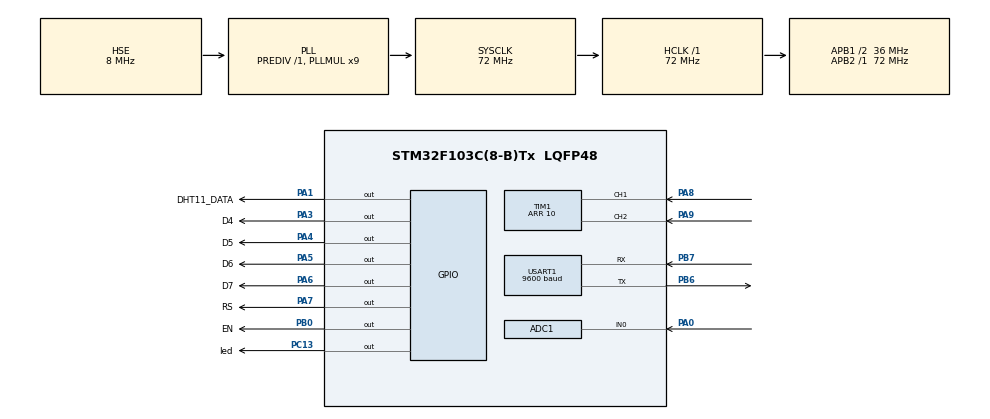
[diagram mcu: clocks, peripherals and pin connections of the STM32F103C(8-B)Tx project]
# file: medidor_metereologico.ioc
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ADC1.Channel-1\#ChannelRegularConversion=ADC_CHANNEL_0
ADC1.ContinuousConvMode=ENABLE
ADC1.NbrOfConversion=1
ADC1.NbrOfConversionFlag=1
ADC1.Rank-1\#ChannelRegularConversion=1
ADC1.SamplingTime-1\#ChannelRegularConversion=ADC_SAMPLETIME_1CYCLE_5
ADC1.master=1
Mcu.Family=STM32F1
Mcu.Name=STM32F103C(8-B)Tx
Mcu.Package=LQFP48
NVIC.PriorityGroup=NVIC_PRIORITYGROUP_4
NVIC.USART1_IRQn=true\:0\:0\:false\:false\:true\:true\:true\:true
PA0-WKUP.Signal=ADCx_IN0
PA1.GPIO_Label=DHT11_DATA
PA1.Signal=GPIO_Output
PA13.Mode=Serial_Wire
PA13.Signal=SYS_JTMS-SWDIO
PA14.Mode=Serial_Wire
PA14.Signal=SYS_JTCK-SWCLK
PA3.GPIO_Label=D4
PA3.Signal=GPIO_Output
PA4.GPIO_Label=D5
PA4.Signal=GPIO_Output
PA5.GPIO_Label=D6
PA5.Signal=GPIO_Output
PA6.GPIO_Label=D7
PA6.Signal=GPIO_Output
PA7.GPIO_Label=RS
PA7.Signal=GPIO_Output
PA8.Signal=S_TIM1_CH1
PA9.Signal=S_TIM1_CH2
PB0.GPIO_Label=EN
PB0.Signal=GPIO_Output
PB6.Mode=Asynchronous
PB6.Signal=USART1_TX
PB7.Mode=Asynchronous
PB7.Signal=USART1_RX
PC13-TAMPER-RTC.GPIO_Label=led
PC13-TAMPER-RTC.Signal=GPIO_Output
PD0-OSC_IN.Mode=HSE-External-Oscillator
PD0-OSC_IN.Signal=RCC_OSC_IN
PD1-OSC_OUT.Mode=HSE-External-Oscillator
PD1-OSC_OUT.Signal=RCC_OSC_OUT
ProjectManager.HeapSize=0x200
ProjectManager.StackSize=0x400
ProjectManager.TargetToolchain=STM32CubeIDE
RCC.ADCPresc=RCC_ADCPCLK2_DIV6
RCC.AHBFreq_Value=72000000
RCC.APB1CLKDivider=RCC_HCLK_DIV2
RCC.APB1Freq_Value=36000000
RCC.APB1TimFreq_Value=72000000
RCC.APB2Freq_Value=72000000
RCC.APB2TimFreq_Value=72000000
RCC.HCLKFreq_Value=72000000
RCC.PLLMUL=RCC_PLL_MUL9
RCC.PLLSourceVirtual=RCC_PLLSOURCE_HSE
RCC.SYSCLKFreq_VALUE=72000000
RCC.SYSCLKSource=RCC_SYSCLKSOURCE_PLLCLK
RCC.USBFreq_Value=72000000
SH.ADCx_IN0.0=ADC1_IN0,IN0
SH.S_TIM1_CH1.0=TIM1_CH1,Encoder_Interface
SH.S_TIM1_CH2.0=TIM1_CH2,Encoder_Interface
TIM1.AutoReloadPreload=TIM_AUTORELOAD_PRELOAD_ENABLE
TIM1.EncoderMode=TIM_ENCODERMODE_TI12
TIM1.IC1Filter=10
TIM1.IC2Filter=10
TIM1.Period=10
TIM2.Period=0xffff
TIM2.Prescaler=72-1
USART1.BaudRate=9600
USART1.Mode=MODE_TX_RX
USART1.VirtualMode=VM_ASYNC
VP_TIM2_VS_ClockSourceINT.Mode=Internal
board=custom

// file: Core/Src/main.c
/* USER CODE BEGIN Header */
/**
  ******************************************************************************
  * @file           : main.c
  * @brief          : Main program body
  ******************************************************************************
  * @attention
  *
  * Copyright (c) 2024 STMicroelectronics.
  * All rights reserved.
  *
  * This software is licensed under terms that can be found in the LICENSE file
  * in the root directory of this software component.
  * If no LICENSE file comes with this software, it is provided AS-IS.
  *
  ******************************************************************************
  */
/* USER CODE END Header */
#include "main.h"

/* USER CODE BEGIN Includes */

/*
 * Del usuario
 */
#include "LCD.h"
#include "DHT11.h"
#include "uartRingBuffer.h"
#include "NMEA.h"
/*
 * Nativas de C
 */
#include "string.h"
#include "stdio.h"

/* USER CODE END Includes */

/* USER CODE BEGIN PTD */

/*
 * datos a mostrar en lcd
 */
struct{
	uint8_t humedad; // 0-100%
	uint8_t light; //niveles de luz
}sensores;

/* USER CODE END PTD */

ADC_HandleTypeDef hadc1;

TIM_HandleTypeDef htim1;
TIM_HandleTypeDef htim2;

UART_HandleTypeDef huart1;

void SystemClock_Config(void);
static void MX_GPIO_Init(void);
static void MX_USART1_UART_Init(void);
static void MX_ADC1_Init(void);
static void MX_TIM1_Init(void);
static void MX_TIM2_Init(void);

/* USER CODE BEGIN 0 */

/*
 * Entrada de estado siguiente
 */
uint8_t std = 0; //empezamos en leer el gps

/*
 * Mensaje de display en renglones
 */
char msg[16];
uint8_t RMC[100];
uint8_t GGA[100];

GPSSTRUCT gpsData;

int flagGGA = 0, flagRMC = 0;

int VCCTimeout = 5000;// GGA or RMC will not be received if the VCC is not sufficient

/* USER CODE END 0 */

int main(void)
{

  /* MCU Configuration--------------------------------------------------------*/

  /* Reset of all peripherals, Initializes the Flash interface and the Systick. */
  HAL_Init();

  /* Configure the system clock */
  SystemClock_Config();

  /* Initialize all configured peripherals */
  MX_GPIO_Init();
  MX_USART1_UART_Init();
  MX_ADC1_Init();
  MX_TIM1_Init();
  MX_TIM2_Init();
  /* USER CODE BEGIN 2 */

  /*
   * Inicializamos el encoder
   */
  HAL_TIM_Encoder_Start(&htim1, TIM_CHANNEL_ALL);
  /*
   * Inicializamos el timer dos para la funcion de delay en us
   */
  HAL_TIM_Base_Start(&htim2);

  /*
   * Inicio del ADC
   */
  HAL_ADC_Start(&hadc1);

  /*
   * SALUDO AL USUARIO
   * DEBUG DEL LCD
   */
  LCD_PrintString("Hail Lechuga");
  HAL_Delay(1000);
  LCD_ClearDisplay();
  LCD_PrintString("COOP de lechugas");
  LCD_Position(1, 0);
  LCD_PrintString("GUAJOLOTERA");
  HAL_Delay(1000);
  LCD_ClearDisplay();

  /* USER CODE END 2 */

  /* Infinite loop */
  /* USER CODE BEGIN WHILE */

  LCD_Start();
  Ringbuf_init();
  HAL_Delay(500);

  while (1)
  {
    /* USER CODE END WHILE */

    /* USER CODE BEGIN 3 */

	  /*
	   * Interfaz con el usuraio
	   */
	  std = TIM1->CNT/4;

	  if (std == 0)
	  {
		  if (Wait_for("GGA") == 1)
			  {

				  VCCTimeout = 5000;  // Reset the VCC Timeout indicating the GGA is being received

				  Copy_upto("*", GGA);
				  if (decodeGGA(GGA, &gpsData.ggastruct) == 0) flagGGA = 2;  // 2 indicates the data is valid
				  else flagGGA = 1;  // 1 indicates the data is invalid
			  }

			  if (Wait_for("RMC") == 1)
			  {

				  VCCTimeout = 5000;  // Reset the VCC Timeout indicating the RMC is being received

				  Copy_upto("*", RMC);
				  if (decodeRMC(RMC, &gpsData.rmcstruct) == 0) flagRMC = 2;  // 2 indicates the data is valid
				  else flagRMC = 1;  // 1 indicates the data is invalid
			  }

			  if ((flagGGA == 2) | (flagRMC == 2))
			  {
				  /*
				  lcd_put_cur(0, 0);
				  sprintf (lcdBuffer, "%02d:%02d:%02d, %02d%02d%02d", gpsData.ggastruct.tim.hour, \
						  gpsData.ggastruct.tim.min, gpsData.ggastruct.tim.sec, gpsData.rmcstruct.date.Day, \
						  gpsData.rmcstruct.date.Mon, gpsData.rmcstruct.date.Yr);
				  lcd_send_string(lcdBuffer);
				  memset(lcdBuffer, '\0', 50);
				  lcd_put_cur(1, 0);
				  sprintf (lcdBuffer, "%.2f%c, %.2f%c  ", gpsData.ggastruct.lcation.latitude, gpsData.ggastruct.lcation.NS,\
						  gpsData.ggastruct.lcation.longitude, gpsData.ggastruct.lcation.EW);
				  lcd_send_string(lcdBuffer);
				  */

				  HAL_GPIO_TogglePin(led_GPIO_Port, led_Pin);

				  LCD_Position(0, 0);
				  sprintf (msg, "%02d / %02d / %02d",gpsData.rmcstruct.date.Day, \
				  						  	  gpsData.rmcstruct.date.Mon, gpsData.rmcstruct.date.Yr);
				  LCD_PrintString(msg);
				  LCD_Position(1, 0);
				  sprintf (msg,"%.2f%c, %.2f%c  ", gpsData.ggastruct.lcation.latitude, gpsData.ggastruct.lcation.NS,\
						  	  	  	  	  	  	  gpsData.ggastruct.lcation.longitude, gpsData.ggastruct.lcation.EW);
				  LCD_PrintString(msg);
			  }

			  else if ((flagGGA == 1) | (flagRMC == 1))
			  {
				  // Instead of clearing the display, it's better if we print spaces.
				  // This will avoid the "refreshing" part

				  /*
				  lcd_put_cur(0, 0);
				  lcd_send_string("   NO FIX YET   ");
				  lcd_put_cur(1, 0);
				  lcd_send_string("   Please wait  ");
				  */

				  LCD_Position(0,0);
				  LCD_PrintString("No se encuentra ");
				  LCD_Position(1,0);
				  LCD_PrintString("satelite...     ");

			  }

			  if (VCCTimeout <= 0)
			  {
				  VCCTimeout = 5000;  // Reset the timeout

				  //reset flags
				  flagGGA =flagRMC =0;

				  // You are here means the VCC is less, or maybe there is some connection issue
				  // Check the VCC, also you can try connecting to the external 5V

				  /*
				  lcd_put_cur(0, 0);
				  lcd_send_string("    VCC Issue   ");
				  lcd_put_cur(1, 0);
				  lcd_send_string("Check Connection");
				  */
				  LCD_Position(0,0);
				  LCD_PrintString("    VCC  bajo   ");
				  LCD_Position(1,0);
				  LCD_PrintString("Checar conexion ");
			  }

	  }
	  if (std == 1)
	  {
		  //Cantidad de luz
		  sensores.light = HAL_ADC_GetValue(&hadc1);

		  LCD_Position(0,0);
		  LCD_PrintString("LUMINICIDAD:    ");
		  sprintf(msg,"%d           ",sensores.light);
		  LCD_Position(1,0);
		  LCD_PrintString(msg);
	  }
	  if (std == 2)
	  {
		  //Nivel de humedad
		  LCD_Position(0,0);
		  LCD_PrintString("HUMEDAD         ");
		  sprintf(msg,"%d           ",sensores.humedad);
		  LCD_Position(1,0);
		  LCD_PrintString(msg);
	  }

  }
  /* USER CODE END 3 */
}

void SystemClock_Config(void)
{
  RCC_OscInitTypeDef RCC_OscInitStruct = {0};
  RCC_ClkInitTypeDef RCC_ClkInitStruct = {0};
  RCC_PeriphCLKInitTypeDef PeriphClkInit = {0};

  /** Initializes the RCC Oscillators according to the specified parameters
  * in the RCC_OscInitTypeDef structure.
  */
  RCC_OscInitStruct.OscillatorType = RCC_OSCILLATORTYPE_HSE;
  RCC_OscInitStruct.HSEState = RCC_HSE_ON;
  RCC_OscInitStruct.HSEPredivValue = RCC_HSE_PREDIV_DIV1;
  RCC_OscInitStruct.HSIState = RCC_HSI_ON;
  RCC_OscInitStruct.PLL.PLLState = RCC_PLL_ON;
  RCC_OscInitStruct.PLL.PLLSource = RCC_PLLSOURCE_HSE;
  RCC_OscInitStruct.PLL.PLLMUL = RCC_PLL_MUL9;
  if (HAL_RCC_OscConfig(&RCC_OscInitStruct) != HAL_OK)
  {
    Error_Handler();
  }

  /** Initializes the CPU, AHB and APB buses clocks
  */
  RCC_ClkInitStruct.ClockType = RCC_CLOCKTYPE_HCLK|RCC_CLOCKTYPE_SYSCLK
                              |RCC_CLOCKTYPE_PCLK1|RCC_CLOCKTYPE_PCLK2;
  RCC_ClkInitStruct.SYSCLKSource = RCC_SYSCLKSOURCE_PLLCLK;
  RCC_ClkInitStruct.AHBCLKDivider = RCC_SYSCLK_DIV1;
  RCC_ClkInitStruct.APB1CLKDivider = RCC_HCLK_DIV2;
  RCC_ClkInitStruct.APB2CLKDivider = RCC_HCLK_DIV1;

  if (HAL_RCC_ClockConfig(&RCC_ClkInitStruct, FLASH_LATENCY_2) != HAL_OK)
  {
    Error_Handler();
  }
  PeriphClkInit.PeriphClockSelection = RCC_PERIPHCLK_ADC;
  PeriphClkInit.AdcClockSelection = RCC_ADCPCLK2_DIV6;
  if (HAL_RCCEx_PeriphCLKConfig(&PeriphClkInit) != HAL_OK)
  {
    Error_Handler();
  }
}

static void MX_ADC1_Init(void)
{

  ADC_ChannelConfTypeDef sConfig = {0};

  /** Common config
  */
  hadc1.Instance = ADC1;
  hadc1.Init.ScanConvMode = ADC_SCAN_DISABLE;
  hadc1.Init.ContinuousConvMode = ENABLE;
  hadc1.Init.DiscontinuousConvMode = DISABLE;
  hadc1.Init.ExternalTrigConv = ADC_SOFTWARE_START;
  hadc1.Init.DataAlign = ADC_DATAALIGN_RIGHT;
  hadc1.Init.NbrOfConversion = 1;
  if (HAL_ADC_Init(&hadc1) != HAL_OK)
  {
    Error_Handler();
  }

  /** Configure Regular Channel
  */
  sConfig.Channel = ADC_CHANNEL_0;
  sConfig.Rank = ADC_REGULAR_RANK_1;
  sConfig.SamplingTime = ADC_SAMPLETIME_1CYCLE_5;
  if (HAL_ADC_ConfigChannel(&hadc1, &sConfig) != HAL_OK)
  {
    Error_Handler();
  }

}

static void MX_TIM1_Init(void)
{

  TIM_Encoder_InitTypeDef sConfig = {0};
  TIM_MasterConfigTypeDef sMasterConfig = {0};

  htim1.Instance = TIM1;
  htim1.Init.Prescaler = 0;
  htim1.Init.CounterMode = TIM_COUNTERMODE_UP;
  htim1.Init.Period = 10;
  htim1.Init.ClockDivision = TIM_CLOCKDIVISION_DIV1;
  htim1.Init.RepetitionCounter = 0;
  htim1.Init.AutoReloadPreload = TIM_AUTORELOAD_PRELOAD_ENABLE;
  sConfig.EncoderMode = TIM_ENCODERMODE_TI12;
  sConfig.IC1Polarity = TIM_ICPOLARITY_RISING;
  sConfig.IC1Selection = TIM_ICSELECTION_DIRECTTI;
  sConfig.IC1Prescaler = TIM_ICPSC_DIV1;
  sConfig.IC1Filter = 10;
  sConfig.IC2Polarity = TIM_ICPOLARITY_RISING;
  sConfig.IC2Selection = TIM_ICSELECTION_DIRECTTI;
  sConfig.IC2Prescaler = TIM_ICPSC_DIV1;
  sConfig.IC2Filter = 10;
  if (HAL_TIM_Encoder_Init(&htim1, &sConfig) != HAL_OK)
  {
    Error_Handler();
  }
  sMasterConfig.MasterOutputTrigger = TIM_TRGO_RESET;
  sMasterConfig.MasterSlaveMode = TIM_MASTERSLAVEMODE_DISABLE;
  if (HAL_TIMEx_MasterConfigSynchronization(&htim1, &sMasterConfig) != HAL_OK)
  {
    Error_Handler();
  }

}

static void MX_TIM2_Init(void)
{

  TIM_ClockConfigTypeDef sClockSourceConfig = {0};
  TIM_MasterConfigTypeDef sMasterConfig = {0};

  htim2.Instance = TIM2;
  htim2.Init.Prescaler = 72-1;
  htim2.Init.CounterMode = TIM_COUNTERMODE_UP;
  htim2.Init.Period = 0xffff;
  htim2.Init.ClockDivision = TIM_CLOCKDIVISION_DIV1;
  htim2.Init.AutoReloadPreload = TIM_AUTORELOAD_PRELOAD_DISABLE;
  if (HAL_TIM_Base_Init(&htim2) != HAL_OK)
  {
    Error_Handler();
  }
  sClockSourceConfig.ClockSource = TIM_CLOCKSOURCE_INTERNAL;
  if (HAL_TIM_ConfigClockSource(&htim2, &sClockSourceConfig) != HAL_OK)
  {
    Error_Handler();
  }
  sMasterConfig.MasterOutputTrigger = TIM_TRGO_RESET;
  sMasterConfig.MasterSlaveMode = TIM_MASTERSLAVEMODE_DISABLE;
  if (HAL_TIMEx_MasterConfigSynchronization(&htim2, &sMasterConfig) != HAL_OK)
  {
    Error_Handler();
  }

}

static void MX_USART1_UART_Init(void)
{

  huart1.Instance = USART1;
  huart1.Init.BaudRate = 9600;
  huart1.Init.WordLength = UART_WORDLENGTH_8B;
  huart1.Init.StopBits = UART_STOPBITS_1;
  huart1.Init.Parity = UART_PARITY_NONE;
  huart1.Init.Mode = UART_MODE_TX_RX;
  huart1.Init.HwFlowCtl = UART_HWCONTROL_NONE;
  huart1.Init.OverSampling = UART_OVERSAMPLING_16;
  if (HAL_UART_Init(&huart1) != HAL_OK)
  {
    Error_Handler();
  }

}

static void MX_GPIO_Init(void)
{
  GPIO_InitTypeDef GPIO_InitStruct = {0};

  /* GPIO Ports Clock Enable */
  __HAL_RCC_GPIOC_CLK_ENABLE();
  __HAL_RCC_GPIOD_CLK_ENABLE();
  __HAL_RCC_GPIOA_CLK_ENABLE();
  __HAL_RCC_GPIOB_CLK_ENABLE();

  /*Configure GPIO pin Output Level */
  HAL_GPIO_WritePin(led_GPIO_Port, led_Pin, GPIO_PIN_RESET);

  /*Configure GPIO pin Output Level */
  HAL_GPIO_WritePin(GPIOA, DHT11_DATA_Pin|D4_Pin|D5_Pin|D6_Pin
                          |D7_Pin|RS_Pin, GPIO_PIN_RESET);

  /*Configure GPIO pin Output Level */
  HAL_GPIO_WritePin(EN_GPIO_Port, EN_Pin, GPIO_PIN_RESET);

  /*Configure GPIO pin : led_Pin */
  GPIO_InitStruct.Pin = led_Pin;
  GPIO_InitStruct.Mode = GPIO_MODE_OUTPUT_PP;
  GPIO_InitStruct.Pull = GPIO_NOPULL;
  GPIO_InitStruct.Speed = GPIO_SPEED_FREQ_LOW;
  HAL_GPIO_Init(led_GPIO_Port, &GPIO_InitStruct);

  /*Configure GPIO pins : DHT11_DATA_Pin D4_Pin D5_Pin D6_Pin
                           D7_Pin RS_Pin */
  GPIO_InitStruct.Pin = DHT11_DATA_Pin|D4_Pin|D5_Pin|D6_Pin
                          |D7_Pin|RS_Pin;
  GPIO_InitStruct.Mode = GPIO_MODE_OUTPUT_PP;
  GPIO_InitStruct.Pull = GPIO_NOPULL;
  GPIO_InitStruct.Speed = GPIO_SPEED_FREQ_LOW;
  HAL_GPIO_Init(GPIOA, &GPIO_InitStruct);

  /*Configure GPIO pin : EN_Pin */
  GPIO_InitStruct.Pin = EN_Pin;
  GPIO_InitStruct.Mode = GPIO_MODE_OUTPUT_PP;
  GPIO_InitStruct.Pull = GPIO_NOPULL;
  GPIO_InitStruct.Speed = GPIO_SPEED_FREQ_LOW;
  HAL_GPIO_Init(EN_GPIO_Port, &GPIO_InitStruct);

}

void Error_Handler(void)
{
  __disable_irq();
  while (1)
  {
  }
}
